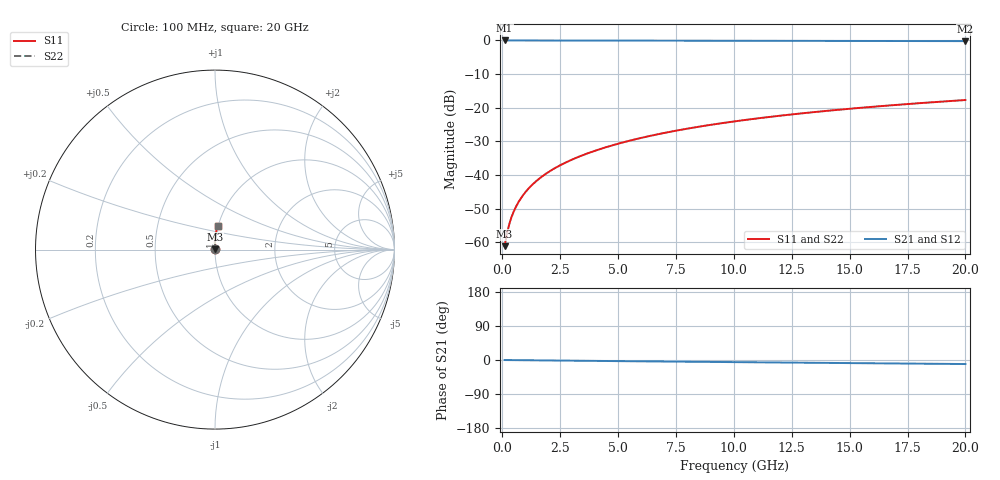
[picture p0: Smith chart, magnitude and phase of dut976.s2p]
! Touchstone file exported from HFSS 2024.1.0
!  File:  C:/UserFiles/LocalFiles/RDL_TSV_Batchsim/temp_RDL_top_976_1779939059.aedt
!  Generated:  11:33:04 AM May 28, 2026
!  Design:  RDL_top
!  Project:  temp_RDL_top_976_1779939059
!  Setup:  Setup1
!  Solution:  Sweep
! Variables:
!  dtsv = 10.80580581um
!  hbump = 3um
!  htsv = 55.72um
!  ldown = 100um
!  lrdl = 104.93um
!  p = 40
!  p1 = 59.85um
!  rhole = 1um
!  t = 450um
!  tdown = 3.915915916um
!  trdl = 3.46um
!  wdown = 15.38538539um
!  wrdl = 27.02um
# GHz S MA R 50.000000
! Terminal data exported
! Port[1] = Box2_T1
! Port[2] = Box2_T2
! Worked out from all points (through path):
!   200 points, 100 MHz to 20 GHz, reference 50 ohm
!   highest |S21| = -0.01 dB at 100 MHz (marker M1); lowest = -0.2 dB at 20 GHz (marker M2)
!   group delay of S21, straight-line fit = 1.46 ps
!   lowest |S11| = -61.1 dB at 100 MHz (marker M3), VSWR 1.00, Z = 50.1 + j0.0596 ohm
!   |S11| at or under -10 dB: start of sweep to end of sweep
!   |S22| runs from -61.1 to -17.7 dB; largest |S21 - S12| = 3.1e-15
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0.1  0.0008816 42.4  0.9993 -0.1  0.9993 -0.1  0.0008816 42.4
! Gamma 0 0 0 0
! Port Impedance 50 0 50 0
0.2  0.001354 59.9  0.9993 -0.1  0.9993 -0.1  0.001354 59.9
0.3  0.001868 67.9  0.9993 -0.2  0.9993 -0.2  0.001868 67.9
0.4  0.00239 72.4  0.9992 -0.3  0.9992 -0.3  0.00239 72.4
0.5  0.002915 75.5  0.9992 -0.3  0.9992 -0.3  0.002915 75.5
0.6  0.003445 77.8  0.9991 -0.4  0.9991 -0.4  0.003445 77.8
0.8  0.004513 80.9  0.9991 -0.5  0.9991 -0.5  0.004513 80.9
1.1  0.006139 83.8  0.9989 -0.7  0.9989 -0.7  0.006139 83.8
1.5  0.008343 86.1  0.9987 -0.9  0.9987 -0.9  0.008343 86.1
1.8  0.01002 87.3  0.9985 -1.1  0.9985 -1.1  0.01002 87.3
2.1  0.01172 88.2  0.9982 -1.3  0.9982 -1.3  0.01172 88.2
2.7  0.01518 89.5  0.9977 -1.6  0.9977 -1.6  0.01518 89.5
3.5  0.01994 90.6  0.9968 -2.1  0.9968 -2.1  0.01994 90.6
4.2  0.02423 91.1  0.9959 -2.5  0.9959 -2.5  0.02423 91.1
5  0.02927 91.4  0.9949 -3.0  0.9949 -3.0  0.02927 91.4
5.9  0.03508 91.5  0.9937 -3.5  0.9937 -3.5  0.03508 91.5
6.8  0.04102 91.4  0.9924 -3.9  0.9924 -3.9  0.04102 91.4
8.3  0.05108 90.8  0.9905 -4.7  0.9905 -4.7  0.05108 90.8
10.1  0.06333 89.8  0.9882 -5.7  0.9882 -5.7  0.06333 89.8
13.4  0.08587 87.6  0.9844 -7.3  0.9844 -7.3  0.08586 87.6
16.7  0.1082 85.4  0.9806 -9.0  0.9806 -9.0  0.1082 85.4
20  0.1303 83.3  0.9768 -10.7  0.9768 -10.7  0.1303 83.3
